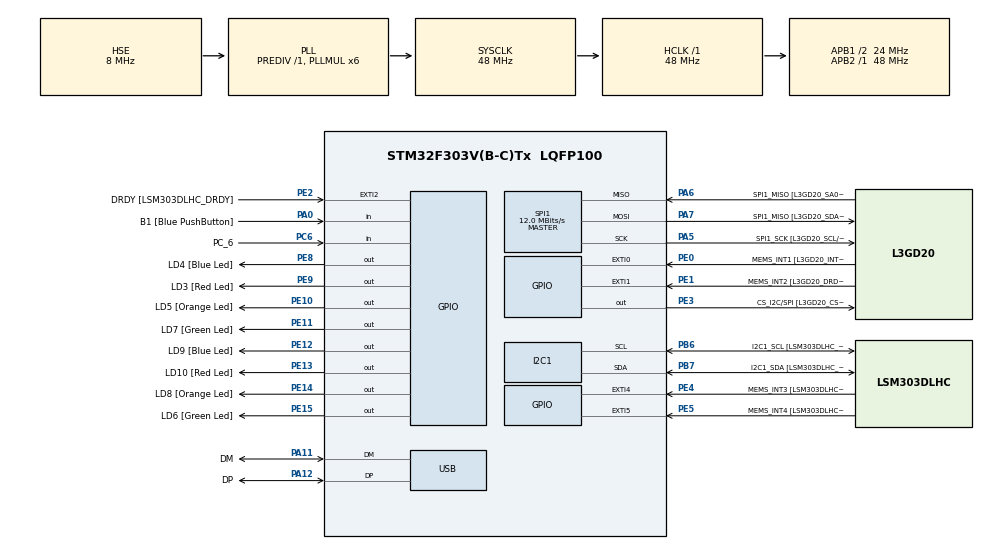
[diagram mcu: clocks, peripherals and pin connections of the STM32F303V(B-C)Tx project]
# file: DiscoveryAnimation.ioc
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FREERTOS.Tasks01=defaultTask,0,128,StartDefaultTask,Default,NULL,Dynamic,NULL,NULL;discoveryAnimat,0,128,StartDiscoveryAnimation,Default,NULL,Dynamic,NULL,NULL
I2C1.Timing=0x2000090E
I2C1.Timing-I2C=0x2000090E
Mcu.Family=STM32F3
Mcu.Name=STM32F303V(B-C)Tx
Mcu.Package=LQFP100
NVIC.PriorityGroup=NVIC_PRIORITYGROUP_4
PA0.GPIO_Label=B1 [Blue PushButton]
PA0.Signal=GPIO_Input
PA11.GPIO_Label=DM
PA11.Mode=Device
PA11.Signal=USB_DM
PA12.GPIO_Label=DP
PA12.Mode=Device
PA12.Signal=USB_DP
PA13.GPIO_Label=SWDIO
PA13.Mode=Serial_Wire
PA13.Signal=SYS_JTMS-SWDIO
PA14.GPIO_Label=SWCLK
PA14.Mode=Serial_Wire
PA14.Signal=SYS_JTCK-SWCLK
PA5.GPIO_Label=SPI1_SCK [L3GD20_SCL/SPC]
PA5.Mode=Full_Duplex_Master
PA5.Signal=SPI1_SCK
PA6.GPIO_Label=SPI1_MISO [L3GD20_SA0/SDO]
PA6.Mode=Full_Duplex_Master
PA6.Signal=SPI1_MISO
PA7.GPIO_Label=SPI1_MISO [L3GD20_SDA/SDI/SDO]
PA7.Mode=Full_Duplex_Master
PA7.Signal=SPI1_MOSI
PB3.GPIO_Label=SWO
PB3.Signal=SYS_JTDO-TRACESWO
PB6.GPIO_Label=I2C1_SCL [LSM303DLHC_SCL]
PB6.Mode=I2C
PB6.Signal=I2C1_SCL
PB7.GPIO_Label=I2C1_SDA [LSM303DLHC_SDA]
PB7.Mode=I2C
PB7.Signal=I2C1_SDA
PC14-OSC32_IN.GPIO_Label=OSC32_IN
PC14-OSC32_IN.Signal=RCC_OSC32_IN
PC15-OSC32_OUT.GPIO_Label=OSC32_OUT
PC15-OSC32_OUT.Signal=RCC_OSC32_OUT
PC6.GPIO_Label=PC_6
PC6.Signal=GPIO_Input
PE0.GPIO_Label=MEMS_INT1 [L3GD20_INT1]
PE0.GPIO_ModeDefaultEXTI=GPIO_MODE_EVT_RISING
PE0.Signal=GPXTI0
PE1.GPIO_Label=MEMS_INT2 [L3GD20_DRDY/INT2]
PE1.GPIO_ModeDefaultEXTI=GPIO_MODE_EVT_RISING
PE1.Signal=GPXTI1
PE10.GPIO_Label=LD5 [Orange Led]
PE10.Signal=GPIO_Output
PE11.GPIO_Label=LD7 [Green Led]
PE11.Signal=GPIO_Output
PE12.GPIO_Label=LD9 [Blue Led]
PE12.Signal=GPIO_Output
PE13.GPIO_Label=LD10 [Red Led]
PE13.Signal=GPIO_Output
PE14.GPIO_Label=LD8 [Orange Led]
PE14.Signal=GPIO_Output
PE15.GPIO_Label=LD6 [Green Led]
PE15.Signal=GPIO_Output
PE2.GPIO_Label=DRDY [LSM303DLHC_DRDY]
PE2.GPIO_ModeDefaultEXTI=GPIO_MODE_EVT_RISING
PE2.Signal=GPXTI2
PE3.GPIO_Label=CS_I2C/SPI [L3GD20_CS_I2C/SPI]
PE3.Signal=GPIO_Output
PE4.GPIO_Label=MEMS_INT3 [LSM303DLHC_INT1]
PE4.GPIO_ModeDefaultEXTI=GPIO_MODE_EVT_RISING
PE4.Signal=GPXTI4
PE5.GPIO_Label=MEMS_INT4 [LSM303DLHC_INT2]
PE5.GPIO_ModeDefaultEXTI=GPIO_MODE_EVT_RISING
PE5.Signal=GPXTI5
PE8.GPIO_Label=LD4 [Blue Led]
PE8.Signal=GPIO_Output
PE9.GPIO_Label=LD3 [Red Led]
PE9.Signal=GPIO_Output
PF0-OSC_IN.GPIO_Label=OSC_IN
PF0-OSC_IN.Mode=HSE-External-Clock-Source
PF0-OSC_IN.Signal=RCC_OSC_IN
PF1-OSC_OUT.GPIO_Label=OSC_OUT
PF1-OSC_OUT.Signal=RCC_OSC_OUT
ProjectManager.HeapSize=0x200
ProjectManager.StackSize=0x400
ProjectManager.TargetToolchain=EWARM V8
RCC.AHBFreq_Value=48000000
RCC.APB1CLKDivider=RCC_HCLK_DIV2
RCC.APB1Freq_Value=24000000
RCC.APB1TimFreq_Value=48000000
RCC.APB2Freq_Value=48000000
RCC.APB2TimFreq_Value=48000000
RCC.CortexFreq_Value=48000000
RCC.HCLKFreq_Value=48000000
RCC.HSE_VALUE=8000000
RCC.HSI_VALUE=8000000
RCC.LSE_VALUE=32768
RCC.PLLMUL=RCC_PLL_MUL6
RCC.SYSCLKFreq_VALUE=48000000
RCC.SYSCLKSourceVirtual=RCC_SYSCLKSOURCE_PLLCLK
RCC.USBFreq_Value=48000000
SPI1.BaudRatePrescaler=SPI_BAUDRATEPRESCALER_4
SPI1.BaudRatePrescaler-Full_Duplex_Master=SPI_BAUDRATEPRESCALER_2
SPI1.CalculateBaudRate=12.0 MBits/s
SPI1.CalculateBaudRate-Full_Duplex_Master=24.0 MBits/s
SPI1.Direction=SPI_DIRECTION_2LINES
SPI1.Mode=SPI_MODE_MASTER
SPI1.Mode-Full_Duplex_Master=SPI_MODE_MASTER
SPI1.VirtualType=VM_MASTER
VP_FREERTOS_VS_CMSIS_V1.Mode=CMSIS_V1
board=STM32F3DISCOVERY

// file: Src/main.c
/* USER CODE BEGIN Header */
/**
  ******************************************************************************
  * @file           : main.c
  * @brief          : Main program body
  ******************************************************************************
  * @attention
  *
  * <h2><center>&copy; Copyright (c) 2019 STMicroelectronics.
  * All rights reserved.</center></h2>
  *
  * This software component is licensed by ST under Ultimate Liberty license
  * SLA0044, the "License"; You may not use this file except in compliance with
  * the License. You may obtain a copy of the License at:
  *                             www.st.com/SLA0044
  *
  ******************************************************************************
  */
/* USER CODE END Header */

#include "main.h"
#include "cmsis_os.h"

I2C_HandleTypeDef hi2c1;

SPI_HandleTypeDef hspi1;

PCD_HandleTypeDef hpcd_USB_FS;

osThreadId defaultTaskHandle;
osThreadId discoveryAnimatHandle;

void SystemClock_Config(void);
static void MX_GPIO_Init(void);
static void MX_I2C1_Init(void);
static void MX_SPI1_Init(void);
static void MX_USB_PCD_Init(void);
void StartDefaultTask(void const * argument);
void StartDiscoveryAnimation(void const * argument);

int main(void)
{

  /* MCU Configuration--------------------------------------------------------*/

  /* Reset of all peripherals, Initializes the Flash interface and the Systick. */
  HAL_Init();

  /* Configure the system clock */
  SystemClock_Config();

  /* Initialize all configured peripherals */
  MX_GPIO_Init();
  MX_I2C1_Init();
  MX_SPI1_Init();
  MX_USB_PCD_Init();

  /* Create the thread(s) */
  /* definition and creation of defaultTask */
  osThreadDef(defaultTask, StartDefaultTask, osPriorityNormal, 0, 128);
  defaultTaskHandle = osThreadCreate(osThread(defaultTask), NULL);

  /* definition and creation of discoveryAnimat */
  osThreadDef(discoveryAnimat, StartDiscoveryAnimation, osPriorityNormal, 0, 128);
  discoveryAnimatHandle = osThreadCreate(osThread(discoveryAnimat), NULL);

  /* Start scheduler */
  osKernelStart();

  /* We should never get here as control is now taken by the scheduler */

  /* Infinite loop */
  while (1)
  {

  }
}

void SystemClock_Config(void)
{
  RCC_OscInitTypeDef RCC_OscInitStruct = {0};
  RCC_ClkInitTypeDef RCC_ClkInitStruct = {0};
  RCC_PeriphCLKInitTypeDef PeriphClkInit = {0};

  /** Initializes the CPU, AHB and APB busses clocks
  */
  RCC_OscInitStruct.OscillatorType = RCC_OSCILLATORTYPE_HSI|RCC_OSCILLATORTYPE_HSE;
  RCC_OscInitStruct.HSEState = RCC_HSE_BYPASS;
  RCC_OscInitStruct.HSEPredivValue = RCC_HSE_PREDIV_DIV1;
  RCC_OscInitStruct.HSIState = RCC_HSI_ON;
  RCC_OscInitStruct.HSICalibrationValue = RCC_HSICALIBRATION_DEFAULT;
  RCC_OscInitStruct.PLL.PLLState = RCC_PLL_ON;
  RCC_OscInitStruct.PLL.PLLSource = RCC_PLLSOURCE_HSE;
  RCC_OscInitStruct.PLL.PLLMUL = RCC_PLL_MUL6;
  if (HAL_RCC_OscConfig(&RCC_OscInitStruct) != HAL_OK)
  {
    Error_Handler();
  }
  /** Initializes the CPU, AHB and APB busses clocks
  */
  RCC_ClkInitStruct.ClockType = RCC_CLOCKTYPE_HCLK|RCC_CLOCKTYPE_SYSCLK
                              |RCC_CLOCKTYPE_PCLK1|RCC_CLOCKTYPE_PCLK2;
  RCC_ClkInitStruct.SYSCLKSource = RCC_SYSCLKSOURCE_PLLCLK;
  RCC_ClkInitStruct.AHBCLKDivider = RCC_SYSCLK_DIV1;
  RCC_ClkInitStruct.APB1CLKDivider = RCC_HCLK_DIV2;
  RCC_ClkInitStruct.APB2CLKDivider = RCC_HCLK_DIV1;

  if (HAL_RCC_ClockConfig(&RCC_ClkInitStruct, FLASH_LATENCY_1) != HAL_OK)
  {
    Error_Handler();
  }
  PeriphClkInit.PeriphClockSelection = RCC_PERIPHCLK_USB|RCC_PERIPHCLK_I2C1;
  PeriphClkInit.I2c1ClockSelection = RCC_I2C1CLKSOURCE_HSI;
  PeriphClkInit.USBClockSelection = RCC_USBCLKSOURCE_PLL;
  if (HAL_RCCEx_PeriphCLKConfig(&PeriphClkInit) != HAL_OK)
  {
    Error_Handler();
  }
}

static void MX_I2C1_Init(void)
{

  hi2c1.Instance = I2C1;
  hi2c1.Init.Timing = 0x2000090E;
  hi2c1.Init.OwnAddress1 = 0;
  hi2c1.Init.AddressingMode = I2C_ADDRESSINGMODE_7BIT;
  hi2c1.Init.DualAddressMode = I2C_DUALADDRESS_DISABLE;
  hi2c1.Init.OwnAddress2 = 0;
  hi2c1.Init.OwnAddress2Masks = I2C_OA2_NOMASK;
  hi2c1.Init.GeneralCallMode = I2C_GENERALCALL_DISABLE;
  hi2c1.Init.NoStretchMode = I2C_NOSTRETCH_DISABLE;
  if (HAL_I2C_Init(&hi2c1) != HAL_OK)
  {
    Error_Handler();
  }
  /** Configure Analogue filter
  */
  if (HAL_I2CEx_ConfigAnalogFilter(&hi2c1, I2C_ANALOGFILTER_ENABLE) != HAL_OK)
  {
    Error_Handler();
  }
  /** Configure Digital filter
  */
  if (HAL_I2CEx_ConfigDigitalFilter(&hi2c1, 0) != HAL_OK)
  {
    Error_Handler();
  }

}

static void MX_SPI1_Init(void)
{

  /* SPI1 parameter configuration*/
  hspi1.Instance = SPI1;
  hspi1.Init.Mode = SPI_MODE_MASTER;
  hspi1.Init.Direction = SPI_DIRECTION_2LINES;
  hspi1.Init.DataSize = SPI_DATASIZE_4BIT;
  hspi1.Init.CLKPolarity = SPI_POLARITY_LOW;
  hspi1.Init.CLKPhase = SPI_PHASE_1EDGE;
  hspi1.Init.NSS = SPI_NSS_SOFT;
  hspi1.Init.BaudRatePrescaler = SPI_BAUDRATEPRESCALER_4;
  hspi1.Init.FirstBit = SPI_FIRSTBIT_MSB;
  hspi1.Init.TIMode = SPI_TIMODE_DISABLE;
  hspi1.Init.CRCCalculation = SPI_CRCCALCULATION_DISABLE;
  hspi1.Init.CRCPolynomial = 7;
  hspi1.Init.CRCLength = SPI_CRC_LENGTH_DATASIZE;
  hspi1.Init.NSSPMode = SPI_NSS_PULSE_ENABLE;
  if (HAL_SPI_Init(&hspi1) != HAL_OK)
  {
    Error_Handler();
  }

}

static void MX_USB_PCD_Init(void)
{

  hpcd_USB_FS.Instance = USB;
  hpcd_USB_FS.Init.dev_endpoints = 8;
  hpcd_USB_FS.Init.speed = PCD_SPEED_FULL;
  hpcd_USB_FS.Init.phy_itface = PCD_PHY_EMBEDDED;
  hpcd_USB_FS.Init.low_power_enable = DISABLE;
  hpcd_USB_FS.Init.battery_charging_enable = DISABLE;
  if (HAL_PCD_Init(&hpcd_USB_FS) != HAL_OK)
  {
    Error_Handler();
  }

}

static void MX_GPIO_Init(void)
{
  GPIO_InitTypeDef GPIO_InitStruct = {0};

  /* GPIO Ports Clock Enable */
  __HAL_RCC_GPIOE_CLK_ENABLE();
  __HAL_RCC_GPIOC_CLK_ENABLE();
  __HAL_RCC_GPIOF_CLK_ENABLE();
  __HAL_RCC_GPIOA_CLK_ENABLE();
  __HAL_RCC_GPIOB_CLK_ENABLE();

  /*Configure GPIO pin Output Level */
  HAL_GPIO_WritePin(GPIOE, CS_I2C_SPI_Pin|LD4_Pin|LD3_Pin|LD5_Pin
                          |LD7_Pin|LD9_Pin|LD10_Pin|LD8_Pin
                          |LD6_Pin, GPIO_PIN_RESET);

  /*Configure GPIO pins : DRDY_Pin MEMS_INT3_Pin MEMS_INT4_Pin MEMS_INT1_Pin
                           MEMS_INT2_Pin */
  GPIO_InitStruct.Pin = DRDY_Pin|MEMS_INT3_Pin|MEMS_INT4_Pin|MEMS_INT1_Pin
                          |MEMS_INT2_Pin;
  GPIO_InitStruct.Mode = GPIO_MODE_EVT_RISING;
  GPIO_InitStruct.Pull = GPIO_NOPULL;
  HAL_GPIO_Init(GPIOE, &GPIO_InitStruct);

  /*Configure GPIO pins : CS_I2C_SPI_Pin LD4_Pin LD3_Pin LD5_Pin
                           LD7_Pin LD9_Pin LD10_Pin LD8_Pin
                           LD6_Pin */
  GPIO_InitStruct.Pin = CS_I2C_SPI_Pin|LD4_Pin|LD3_Pin|LD5_Pin
                          |LD7_Pin|LD9_Pin|LD10_Pin|LD8_Pin
                          |LD6_Pin;
  GPIO_InitStruct.Mode = GPIO_MODE_OUTPUT_PP;
  GPIO_InitStruct.Pull = GPIO_NOPULL;
  GPIO_InitStruct.Speed = GPIO_SPEED_FREQ_LOW;
  HAL_GPIO_Init(GPIOE, &GPIO_InitStruct);

  /*Configure GPIO pin : B1_Pin */
  GPIO_InitStruct.Pin = B1_Pin;
  GPIO_InitStruct.Mode = GPIO_MODE_INPUT;
  GPIO_InitStruct.Pull = GPIO_NOPULL;
  HAL_GPIO_Init(B1_GPIO_Port, &GPIO_InitStruct);

  /*Configure GPIO pin : PC_6_Pin */
  GPIO_InitStruct.Pin = PC_6_Pin;
  GPIO_InitStruct.Mode = GPIO_MODE_INPUT;
  GPIO_InitStruct.Pull = GPIO_NOPULL;
  HAL_GPIO_Init(PC_6_GPIO_Port, &GPIO_InitStruct);

}

void StartDefaultTask(void const * argument)
{

  for(;;)
  {
    osDelay(1);
  }
}

void StartDiscoveryAnimation(void const * argument)
{
  /* USER CODE BEGIN StartDiscoveryAnimation */
  /* Infinite loop */
  int i = 0;
  for(;;)
  {
    while(HAL_GPIO_ReadPin(GPIOC, GPIO_PIN_6)==1){
      switch(i){
      case 0:
        HAL_GPIO_WritePin(GPIOE, GPIO_PIN_8, 1);
        osDelay(123);
        HAL_GPIO_WritePin(GPIOE, GPIO_PIN_8, 0);
        break;
      case 1:
        HAL_GPIO_WritePin(GPIOE, GPIO_PIN_9, 1);
        osDelay(123);
        HAL_GPIO_WritePin(GPIOE, GPIO_PIN_9, 0);
        break;
      case 2:
        HAL_GPIO_WritePin(GPIOE, GPIO_PIN_10, 1);
        osDelay(123);
        HAL_GPIO_WritePin(GPIOE, GPIO_PIN_10, 0);
        break;
      case 3:
        HAL_GPIO_WritePin(GPIOE, GPIO_PIN_11, 1);
        osDelay(123);
        HAL_GPIO_WritePin(GPIOE, GPIO_PIN_11, 0);
        break;
       case 4:
        HAL_GPIO_WritePin(GPIOE, GPIO_PIN_12, 1);
        osDelay(123);
        HAL_GPIO_WritePin(GPIOE, GPIO_PIN_12, 0);
        break;
      case 5:
        HAL_GPIO_WritePin(GPIOE, GPIO_PIN_13, 1);
        osDelay(123);
        HAL_GPIO_WritePin(GPIOE, GPIO_PIN_13, 0);
        break;
      case 6:
        HAL_GPIO_WritePin(GPIOE, GPIO_PIN_14, 1);
        osDelay(123);
        HAL_GPIO_WritePin(GPIOE, GPIO_PIN_14, 0);
        break;
      case 7:
        HAL_GPIO_WritePin(GPIOE, GPIO_PIN_15, 1);
        osDelay(123);
        HAL_GPIO_WritePin(GPIOE, GPIO_PIN_15, 0);
        break;
      }
      i++;
      if(i>7) i=0;
    }
    osDelay(123);
  }
  /* USER CODE END StartDiscoveryAnimation */
}

void Error_Handler(void)
{
}

/************************ (C) COPYRIGHT STMicroelectronics *****END OF FILE****/
